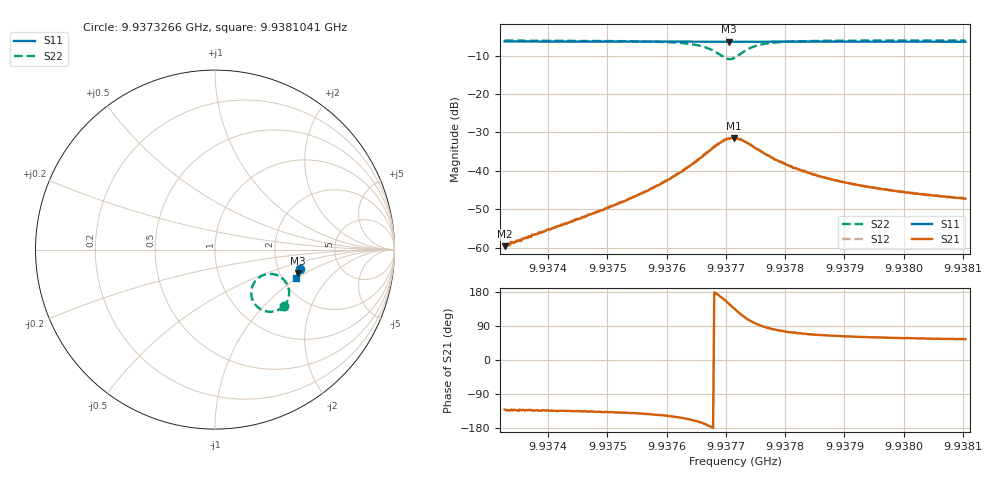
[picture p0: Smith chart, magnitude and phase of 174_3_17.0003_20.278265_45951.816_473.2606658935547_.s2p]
#  HZ  S  RI  R  50.00
! Rohde & Schwarz Vector Network Analyzer
! Rohde-Schwarz,ZNB20-2Port,1311601062101988,3.16
! Created: UTC 3/20/2024, 10:59:53 PM
! freq[Hz]  re:S11  im:S11  re:S21  im:S21  re:S12  im:S12  re:S22  im:S22
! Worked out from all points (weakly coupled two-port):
!   401 points, 9.9373266 GHz to 9.9381041 GHz, reference 50 ohm
!   highest |S21| = -31.48 dB at 9.9377134 GHz (marker M1); lowest = -59.6 dB at 9.9373266 GHz (marker M2)
!   lowest |S11| = -6.4 dB at 9.9377056 GHz (marker M3), VSWR 2.84, Z = 125 - j42.7 ohm
!   |S11| at or under -10 dB: nowhere
!   |S22| runs from -10.9 to -6.0 dB; largest |S21 - S12| = 0.0012
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9.93732658e9  0.4711 -0.1082  -0.000681 -0.000787  -0.000719 -0.000787  0.3868 -0.3124
9.93745681e9  0.4683 -0.117  -0.00175 -0.00174  -0.00178 -0.00169  0.3713 -0.3252
9.93752873e9  0.4666 -0.1219  -0.00302 -0.00262  -0.00314 -0.00261  0.3564 -0.3341
9.93758704e9  0.4653 -0.1259  -0.00535 -0.00375  -0.00554 -0.00371  0.3335 -0.3432
9.93762785e9  0.4637 -0.1289  -0.00896 -0.00451  -0.00925 -0.00445  0.3013 -0.3462
9.93766284e9  0.4622 -0.131  -0.0156 -0.00326  -0.0161 -0.00297  0.2486 -0.3284
9.93767645e9  0.4615 -0.1317  -0.0193 -0.000772  -0.0198 -0.000251  0.2213 -0.3025
9.93769005e9  0.4607 -0.1321  -0.0225 0.00486  -0.0231 0.00551  0.2024 -0.2539
9.93769977e9  0.4603 -0.1319  -0.0232 0.0102  -0.0233 0.0115  0.2069 -0.2077
9.9377056e9  0.4601 -0.1319  -0.0221 0.014  -0.0222 0.015  0.2207 -0.1802
9.93771338e9  0.4602 -0.1321  -0.0194 0.0183  -0.0189 0.0193  0.2507 -0.1514
9.93771532e9  0.4603 -0.1319  -0.0183 0.0191  -0.0179 0.0201  0.2599 -0.1463
9.93772504e9  0.4606 -0.1322  -0.0129 0.022  -0.0122 0.0226  0.3068 -0.1353
9.93773864e9  0.4611 -0.1329  -0.00606 0.0217  -0.00528 0.0219  0.3594 -0.1491
9.93776002e9  0.4615 -0.1346  3.65e-06 0.0176  0.000453 0.0179  0.3995 -0.1894
9.93779307e9  0.461 -0.1373  0.00303 0.0127  0.00324 0.0127  0.4127 -0.2355
9.9378125e9  0.4607 -0.1388  0.00323 0.0104  0.00356 0.0106  0.4124 -0.2526
9.93784555e9  0.4601 -0.1411  0.00347 0.00834  0.00367 0.00836  0.4085 -0.2718
9.93789414e9  0.4589 -0.1445  0.00328 0.00641  0.00344 0.0064  0.4021 -0.289
9.93797577e9  0.4569 -0.15  0.00291 0.00473  0.003 0.00475  0.3926 -0.3054
9.93803991e9  0.4552 -0.1541  0.00266 0.00401  0.00278 0.00407  0.3868 -0.3138
9.93810406e9  0.4533 -0.1583  0.00248 0.00355  0.00257 0.00354  0.3813 -0.3206
